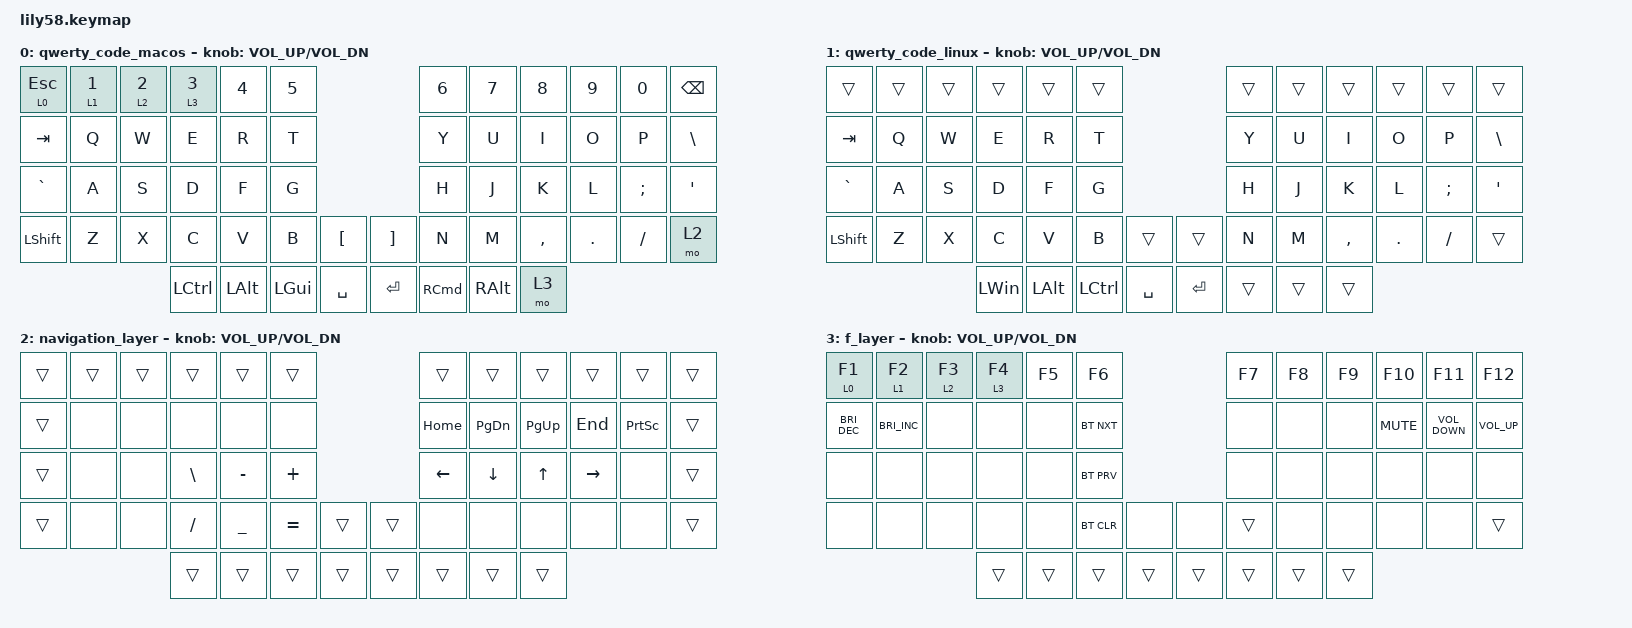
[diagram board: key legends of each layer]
/*
 * Copyright (c) 2020 The ZMK Contributors
 *
 * SPDX-License-Identifier: MIT
 */

#include <behaviors.dtsi>
#include <dt-bindings/zmk/bt.h>
#include <dt-bindings/zmk/keys.h>

/ {
    behaviors {
        kpPRESS_or_toHOLD: kpPRESS_or_toHOLD {
            compatible = "zmk,behavior-hold-tap";
            label = "KPPRESS_OR_TOHOLD";
            bindings = <&to>, <&kp>;

            #binding-cells = <2>;
            tapping-term-ms = <1000>;
            flavor = "balanced";
        };
    };

    keymap {
        compatible = "zmk,keymap";

        qwerty_code_macos {
            // ------------------------------------------------------------------------------------------------------------
            // |  ESC  |  1  |  2  |  3   |  4   |  5   |                   |  6   |  7    |  8    |  9   |   0   |   `   |
            // |  TAB  |  Q  |  W  |  E   |  R   |  T   |                   |  Y   |  U    |  I    |  O   |   P   |   -   |
            // |  CTRL |  A  |  S  |  D   |  F   |  G   |                   |  H   |  J    |  K    |  L   |   ;   |   '   |
            // | SHIFT |  Z  |  X  |  C   |  V   |  B   |   "["  |  |  "]"  |  N   |  M    |  ,    |  .   |   /   | SHIFT |
            //                     | ALT  | GUI  | LOWER|  SPACE |  | ENTER | RAISE| BSPC  | GUI   |

            bindings = <
&kpPRESS_or_toHOLD 0 ESCAPE  &kpPRESS_or_toHOLD 1 NUMBER_1  &kpPRESS_or_toHOLD 2 NUMBER_2  &kpPRESS_or_toHOLD 3 NUMBER_3  &kp N4    &kp N5                                           &kp N6             &kp N7         &kp N8     &kp N9   &kp N0    &kp BSPC
&kp TAB                      &kp Q                          &kp W                          &kp E                          &kp R     &kp T                                            &kp Y              &kp U          &kp I      &kp O    &kp P     &kp BSLH
&kp GRAVE                    &kp A                          &kp S                          &kp D                          &kp F     &kp G                                            &kp H              &kp J          &kp K      &kp L    &kp SEMI  &kp APOS
&kp LSHFT                    &kp Z                          &kp X                          &kp C                          &kp V     &kp B     &kp LEFT_BRACKET    &kp RIGHT_BRACKET  &kp N              &kp M          &kp COMMA  &kp DOT  &kp FSLH  &mo 2
                                                                                           &kp LCTRL                      &kp LALT  &kp LGUI  &kp SPACE           &kp ENTER          &kp RIGHT_COMMAND  &kp RIGHT_ALT  &mo 3
            >;

            sensor-bindings = <&inc_dec_kp C_VOL_UP C_VOL_DN>;
        };

        qwerty_code_linux {
            bindings = <
&trans     &trans  &trans  &trans        &trans    &trans                             &trans  &trans  &trans     &trans   &trans    &trans
&kp TAB    &kp Q   &kp W   &kp E         &kp R     &kp T                              &kp Y   &kp U   &kp I      &kp O    &kp P     &kp BSLH
&kp GRAVE  &kp A   &kp S   &kp D         &kp F     &kp G                              &kp H   &kp J   &kp K      &kp L    &kp SEMI  &kp APOS
&kp LSHFT  &kp Z   &kp X   &kp C         &kp V     &kp B      &trans       &trans     &kp N   &kp M   &kp COMMA  &kp DOT  &kp FSLH  &trans
                           &kp LEFT_WIN  &kp LALT  &kp LCTRL  &kp SPACE    &kp ENTER  &trans  &trans  &trans
            >;

            sensor-bindings = <&inc_dec_kp C_VOL_UP C_VOL_DN>;
        };

        navigation_layer {
            bindings = <
&trans  &trans  &trans  &trans         &trans          &trans                       &trans    &trans         &trans       &trans     &trans           &trans
&trans  &none   &none   &none          &none           &none                        &kp HOME  &kp PAGE_DOWN  &kp PAGE_UP  &kp END    &kp PRINTSCREEN  &trans
&trans  &none   &none   &kp BACKSLASH  &kp MINUS       &kp PLUS                     &kp LEFT  &kp DOWN       &kp UP       &kp RIGHT  &none            &trans
&trans  &none   &none   &kp SLASH      &kp UNDERSCORE  &kp EQUAL  &trans    &trans  &none     &none          &none        &none      &none            &trans
                        &trans         &trans          &trans     &trans    &trans  &trans    &trans         &trans
            >;

            sensor-bindings = <&inc_dec_kp C_VOL_UP C_VOL_DN>;
        };

        f_layer {
            // --------------------------------------------------------------------------------------------------------------
            // | LPAD  | BRDn | BRUp |  MUT |  Vo- |  Vo+ |                   |      |       |       |      |       |       |
            // |  F1   |  F2  |  F3  |  F4  |  F5  |  F6  |                   |  F7  |  F8   |  F9   |  F10 |  F11  |  F12  |
            // |   `   |  !   |  @   |  #   |  $   |  %   |                   |  ^   |  &    |  *    |  (   |   )   |   ~   |
            // |       |      |      |      |      |      |        |  |       |      |  _    |  +    |  {   |   }   |  "|"  |
            //                       |      |      |      |        |  |       |      |       |       |

            bindings = <
&kpPRESS_or_toHOLD 0 F1  &kpPRESS_or_toHOLD 1 F2  &kpPRESS_or_toHOLD 2 F3  &kpPRESS_or_toHOLD 3 F4  &kp F5  &kp F6                        &kp F7  &kp F8  &kp F9  &kp F10     &kp F11            &kp F12
&kp C_BRI_DEC            &kp C_BRIGHTNESS_INC     &none                    &none                    &none   &bt BT_NXT                    &none   &none   &none   &kp K_MUTE  &kp C_VOLUME_DOWN  &kp C_VOLUME_UP
&none                    &none                    &none                    &none                    &none   &bt BT_PRV                    &none   &none   &none   &none       &none              &none
&none                    &none                    &none                    &none                    &none   &bt BT_CLR  &none     &none   &trans  &none   &none   &none       &none              &trans
                                                                           &trans                   &trans  &trans      &trans    &trans  &trans  &trans  &trans
            >;

            sensor-bindings = <&inc_dec_kp C_VOL_UP C_VOL_DN>;
        };
    };
};
